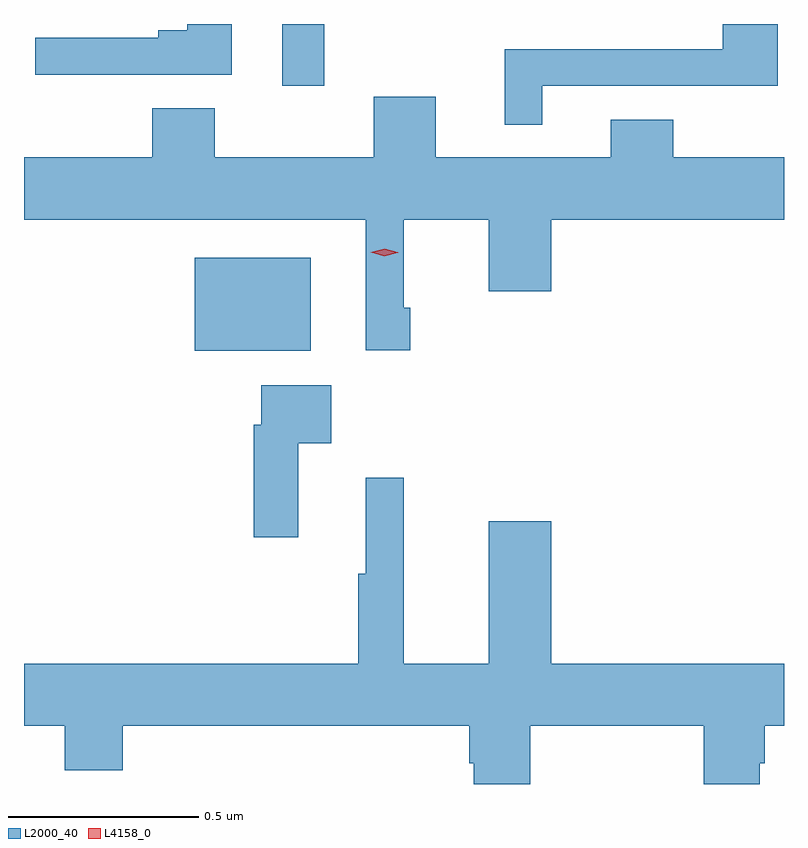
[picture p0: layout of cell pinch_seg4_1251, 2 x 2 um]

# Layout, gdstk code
import gdstk
lib = gdstk.Library(unit=1e-6, precision=1e-09)
def R(c, l, rs):  # rectangles x0, y0, x1, y1
    for r in rs: c.add(gdstk.rectangle(r[:2], r[2:], *l))
def P(c, l, *ps):  # polygons
    for p in ps: c.add(gdstk.Polygon(p, *l))
L2000_40 = (2000, 40)
L4158_0 = (4158, 0)

pinch_seg4_1251 = lib.new_cell('pinch_seg4_1251')
R(pinch_seg4_1251, L2000_40, [(308.09,829.775,308.395,830.02), (308.321,830.472,308.431,830.635)])
P(pinch_seg4_1251, L2000_40, [(309.005,830.472),(309.625,830.472),(309.625,830.635),(309.48,830.635),(309.48,830.568),(308.906,830.568),(308.906,830.37),(309.005,830.37)],
  [(307.883,830.502),(308.188,830.502),(308.188,830.635),(308.071,830.635),(308.071,830.618),(307.994,830.618),(307.994,830.599),(307.671,830.599),(307.671,830.501),(307.883,830.501)],
  [(308.657,829.888),(308.64,829.888),(308.64,830.12),(308.864,830.12),(308.864,829.932),(309.028,829.932),(309.028,830.12),(309.641,830.12),(309.641,830.284),(309.349,830.284),(309.349,830.383),(309.185,830.383),(309.185,830.284),(308.725,830.284),(308.725,830.443),(308.561,830.443),(308.561,830.284),(308.143,830.284),(308.143,830.413),(307.979,830.413),(307.979,830.284),(307.641,830.284),(307.641,830.12),(308.54,830.12),(308.54,829.776),(308.657,829.776)],
  [(308.363,829.532),(308.449,829.532),(308.449,829.684),(308.265,829.684),(308.265,829.58),(308.245,829.58),(308.245,829.284),(308.363,829.284)],
  [(308.973,828.788),(309.43,828.788),(309.43,828.635),(309.577,828.635),(309.577,828.69),(309.59,828.69),(309.59,828.788),(309.641,828.788),(309.641,828.952),(309.028,828.952),(309.028,829.327),(308.864,829.327),(308.864,828.952),(308.64,828.952),(308.64,829.441),(308.54,829.441),(308.54,829.188),(308.521,829.188),(308.521,828.952),(307.641,828.952),(307.641,828.788),(307.748,828.788),(307.748,828.671),(307.901,828.671),(307.901,828.788),(308.813,828.788),(308.813,828.69),(308.825,828.69),(308.825,828.635),(308.973,828.635)])
P(pinch_seg4_1251, L4158_0, [(308.589,830.024),(308.554,830.035),(308.554,830.035),(308.554,830.035),(308.59,830.044),(308.625,830.034),(308.626,830.033),(308.625,830.033)])

lib.write_gds('pinch_seg4_1251.gds')
